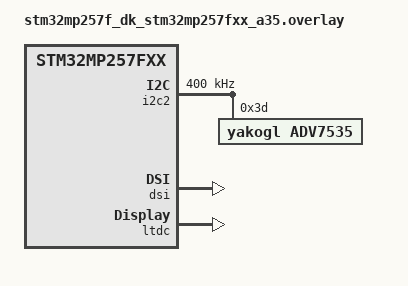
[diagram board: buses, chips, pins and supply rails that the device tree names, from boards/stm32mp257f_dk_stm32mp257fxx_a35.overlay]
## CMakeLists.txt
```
# SPDX-License-Identifier: Apache-2.0
# SPDX-FileCopyrightText: 2026 Signal Slot, Inc.
# mp2_display: the STM32MP257F-DK's display probe (README.md). LTDC -> DSI ->
# ADV7535 -> HDMI through the Zephyr display API, then eight colour bars.
#
#   west build -p always -b stm32mp257f_dk/stm32mp257fxx/a35 -d build/mp2_display \
#     yakogl/tools/probes/stm32mp257f_dk/mp2_display
cmake_minimum_required(VERSION 3.20.0)

# driver/ is a Zephyr module (the SoC, the board, the board layer, the
# display drivers). The overlay boards/stm32mp257f_dk_stm32mp257fxx_a35.overlay
# is picked up by name.
get_filename_component(PVR_REPO "${CMAKE_CURRENT_SOURCE_DIR}/../../../../driver" ABSOLUTE)
list(APPEND ZEPHYR_EXTRA_MODULES "${PVR_REPO}")

find_package(Zephyr REQUIRED HINTS $ENV{ZEPHYR_BASE})
project(mp2_display)

# The build prints its own commit first (a result row names its build).
execute_process(COMMAND git -C "${PVR_REPO}" describe --always --dirty
                OUTPUT_VARIABLE MP2_DISPLAY_BUILD OUTPUT_STRIP_TRAILING_WHITESPACE
                ERROR_QUIET RESULT_VARIABLE describe_rc)
if(NOT describe_rc EQUAL 0 OR MP2_DISPLAY_BUILD STREQUAL "")
  set(MP2_DISPLAY_BUILD "unknown")
endif()
target_compile_definitions(app PRIVATE MP2_DISPLAY_BUILD="${MP2_DISPLAY_BUILD}")
message(STATUS "mp2_display build: ${MP2_DISPLAY_BUILD}")

target_sources(app PRIVATE src/main.c src/pattern.c)

# Zero warnings in our C files with -DYAKOGL_WERROR=ON; off by default.
if(YAKOGL_WERROR)
  target_compile_options(app PRIVATE -Werror)
endif()
```

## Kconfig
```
# SPDX-License-Identifier: Apache-2.0
# SPDX-FileCopyrightText: 2026 Signal Slot, Inc.

config MP2_DISPLAY_HOLD_S
	int "Seconds the picture is held after the verdict line"
	default 60
	range 0 600
	help
	  After the PASS or FAIL line the probe keeps the scan-out running this
	  long before main() returns, so the runner's MP2_HOLD_S and the KVM
	  can see the picture. The board layer's lifetime
	  (CONFIG_YAKOGL_STM32MP2_LIFETIME_S) must cover it.

source "Kconfig.zephyr"
```

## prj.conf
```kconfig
# SPDX-License-Identifier: Apache-2.0
# SPDX-FileCopyrightText: 2026 Signal Slot, Inc.
# The board defconfig has the console; the board layer (stm32mp2.c) prints
# the banner and the hand-over record and resets through PSCI at the end;
# stm32mp2_wdog.c arms OP-TEE's watchdog at boot.
CONFIG_PRINTK=y
CONFIG_EARLY_CONSOLE=y
CONFIG_YAKOGL_STM32MP2_WDOG=y

# The display path: the four drivers are enabled by the overlay's nodes.
CONFIG_DISPLAY=y
CONFIG_I2C=y
CONFIG_MIPI_DSI=y
CONFIG_GPIO=y

# Translation tables. Zephyr's default 8 ran out on the DK right after
# "display_power: up" (board-display2: "CONFIG_MAX_XLAT_TABLES is too small",
# ELR in arch/arm64/core/mmu.c new_table): the base table, an L2 table for
# each GiB touched (0x4xxxxxxx: the GIC; 0x8xxxxxxx-0xbxxxxxxx: the image,
# the VM region and the frame buffer) and an L3 table for each 2 MiB window
# mapped in pages: the image (text/rodata/data split), the GIC, the top of
# the 8 MiB VM region where device_map puts USART2, RCC, SYSCFG (6 pages),
# RIFSC, GPIOB, GPIOF, I2C2, the DSI host and the LTDC, and the frame
# buffer's direct map at 0xb0000000 (fb-size 8 MiB, 2 MiB blocks when
# aligned). mp2_gpu_scanout gets 256 from the Vivante driver's default
# (driver/zephyr/Kconfig); without the GPU nothing raises it. 64 is several
# times what that list can take (8 tables were 32 KiB, 64 are 256 KiB).
CONFIG_MAX_XLAT_TABLES=64

# A thread that overruns its stack is stopped at its next context switch
# (K_ERR_STACK_CHK_FAIL: "mp2: fatal error 2" without CONFIG_LOG), not later
# as a corrupted neighbour (the board layer's MAIN_STACK_SIZE default,
# driver/zephyr/lib/board/stm32mp2/Kconfig).
CONFIG_STACK_SENTINEL=y

# The layer resets the board this long after boot; the probe holds the
# picture CONFIG_MP2_DISPLAY_HOLD_S (60) after its verdict, so it must be
# well beyond that.
CONFIG_YAKOGL_STM32MP2_LIFETIME_S=150
```

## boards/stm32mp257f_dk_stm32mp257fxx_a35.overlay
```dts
/*
 * SPDX-License-Identifier: Apache-2.0
 * SPDX-FileCopyrightText: 2026 Signal Slot, Inc.
 *
 * mp2_display: the DK's display path as ST's tree has it, LTDC -> DSI ->
 * ADV7535 -> HDMI, as yakogl devices. The probe's own overlay: the board
 * and SoC files stay without it.
 *
 *   &i2c2    stm32mp251.dtsi:935-936 (0x40130000), the bus of the bridge
 *            (stm32mp257f-dk.dts:395)
 *   adv7535  stm32mp257f-dk.dts:428-433: reg 0x3d with the secondary maps
 *            0x3f (edid), 0x3c (cec), 0x38 (packet), four DSI lanes
 *   dsi      stm32mp255.dtsi:123-133 (0x48000000), its output to the bridge
 *            (stm32mp257f-dk.dts:328-350)
 *   ltdc     stm32mp251.dtsi:2150 (0x48010000), its output to the DSI
 *            (stm32mp257f-dk.dts:536-547)
 *   ltdc_fb  the frame buffer, 0xb0000000, 32 MiB no-map: past the image's
 *            load end, inside RISAF4 region 9 (non-secure, CID0/1 r/w),
 *            below 4 GiB (docs/notes/stm32mp257f-dk-display-bringup.md,
 *            "Where the image lives and the proposed framebuffer")
 *
 * The clocks are what the board layer's power-on sets and reads back
 * (display_power_mp2.c over soc::stm32mp2::display): ck_ker_i2c2 is
 * FLEXGEN_12 at 100 MHz, the DSI PHY reference FLEXGEN_28 at 27 MHz, the
 * LTDC's pixel clock FLEXGEN_27 at the chosen mode's rate.
 *
 * Left out, on purpose:
 *   - the bridge's INT (GPIO B4) and reset (GPIO B6) lines
 *     (stm32mp257f-dk.dts:436-438): the board layer configures both pins and
 *     pulses the reset; no GPIO controller in this tree, the HPD is read
 *     from the chip.
 *   - interrupts of the LTDC (frames and flips are polled).
 */

/ {
	chosen {
		yakogl,ltdc-fb = &ltdc_fb;
	};

	reserved-memory {
		ltdc_fb: framebuffer@b0000000 {
			reg = <0xb0000000 DT_SIZE_M(32)>;
			no-map;
		};
	};

	soc {
		i2c2: i2c@40130000 {
			compatible = "yakogl,stm32mp2-i2c";
			reg = <0x40130000 0x400>;
			#address-cells = <1>;
			#size-cells = <0>;
			clock-frequency = <400000>;
			kernel-clock-frequency = <100000000>;
			status = "okay";

			adv7535: hdmi@3d {
				compatible = "yakogl,adv7535";
				reg = <0x3d>;
				edid-reg = <0x3f>;
				cec-reg = <0x3c>;
				packet-reg = <0x38>;
				adi,dsi-lanes = <4>;
				status = "okay";
			};
		};

		dsi: dsi@48000000 {
			compatible = "yakogl,stm32-dsi";
			reg = <0x48000000 0x800>;
			data-lanes = <4>;
			bridge = <&adv7535>;
			pll-ref-frequency = <27000000>;
			/* the LTDC driver sets the chosen mode's (stm32_dsi_set_mode) */
			pixel-clock-frequency = <148500000>;
			status = "okay";
		};

		/* hactive x vactive: the largest mode the driver may choose,
		 * 1920x1080@60 when the EDID prefers it, else 1280x720@60; one
		 * 1080p XRGB8888 frame (pitch 7680) fits fb-size. */
		ltdc: display-controller@48010000 {
			compatible = "yakogl,stm32-ltdc";
			reg = <0x48010000 0x400>;
			hactive = <1920>;
			vactive = <1080>;
			pixel-format = "argb8888";
			fb-size = <0x800000>;
			dsi-host = <&dsi>;
			status = "okay";
		};
	};
};
```

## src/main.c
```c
/* SPDX-License-Identifier: Apache-2.0 */
/* SPDX-FileCopyrightText: 2026 Signal Slot, Inc. */
/*
 * mp2_display: brings the DK's chain up through the LTDC display device (the
 * chain owner, display_yakogl_stm32_ltdc.c; the board layer powered the path
 * before, display_power_mp2.c), writes the eight colour bars (pattern.c,
 * what display_check/colorbars.py judges) line by line with display_write(),
 * turns blanking off, runs the scan-out check over MP2_DISPLAY_FRAMES frames
 * (stm32_ltdc_scanout_check) and prints
 *   mp2_display: PASS: <w>x<h> <fmt> <n> frames
 *   mp2_display: FAIL: <step> <err>
 * PASS only when the chain is up (LTDC on, DSI streaming, ADV7535 started)
 * and the scan-out check returned 0 with no failed bit: at least that many
 * frame events (ISR.LIF or the CPSR wrap), the layer's address and enable
 * read back right after the reload and after the last frame, and no FUWIF,
 * FUIF, TERRIF or FURIF in any event's ISR. The check's record is always
 * printed ("mp2_display: scanout: ..."; "errors: unobservable" when no RRIF
 * came after the control reload: the error flags could not be seen, which is
 * not a failure), and a failed check prints its name before the FAIL line
 * ("scanout: check frames|layer|errors|control failed"; step scanout-frames,
 * scanout-layer, scanout-errors or scanout-control). It then keeps scanning
 * out CONFIG_MP2_DISPLAY_HOLD_S seconds (one frame checked a second), so the
 * runner's MP2_HOLD_S and the KVM can see the picture. The board layer
 * (stm32mp2.c) resets the board through PSCI at its lifetime.
 *
 * After the check, the LTDC's frame CRC is logged as a diagnostic only
 * (stm32_ltdc_crc_enable / stm32_ltdc_frame_crc_event): "mp2_display: crc:
 * <what> 0x<crc> line <cypos> via <wrap|lif>" for four reads of the unchanged
 * buffer, one with two pixels of line 0 changed, one restored, then
 *   mp2_display: crc: diagnostic: stable <y|n> changed <y|n> restored <y|n>
 *   mp2_display: crc: unavailable     (-ENODEV: no CRC unit)
 * Nothing of it gates PASS: the CRC did not follow the picture on this path
 * (docs/notes/stm32mp257f-dk-display-bringup.md, "CRC and frame wait"). The
 * chain keeps scanning out throughout, so the hold that follows the result
 * line shows the restored picture. The KVM still judges the colours.
 */
#include <zephyr/kernel.h>
#include <zephyr/device.h>
#include <zephyr/devicetree.h>
#include <zephyr/drivers/display.h>
#include <zephyr/sys/printk.h>

#include <yakogl_mp25_display.h>
#include <yakogl_drv/adv7535.h>
#include <yakogl_drv/stm32_dsi.h>
#include <yakogl_drv/stm32_ltdc.h>

#include "pattern.h"

#define NAME "mp2_display"

#define LTDC_NODE DT_NODELABEL(ltdc)
#define DSI_NODE  DT_PHANDLE(LTDC_NODE, dsi_host)
#define ADV_NODE  DT_PHANDLE(DSI_NODE, bridge)

BUILD_ASSERT(DT_NODE_HAS_STATUS_OKAY(LTDC_NODE), "the overlay enables the ltdc node");
BUILD_ASSERT(CONFIG_MP2_DISPLAY_HOLD_S + 20 < CONFIG_YAKOGL_STM32MP2_LIFETIME_S,
	     "the board layer's lifetime covers the hold");

/* Frames that must come clean before PASS: one second at 60 Hz. */
#define MP2_DISPLAY_FRAMES 60

/* One line of the largest mode the node allows; the bars are vertical, so
 * every line is the same. */
#define LINE_W DT_PROP(LTDC_NODE, hactive)
static uint8_t line[LINE_W * 4] __aligned(64);
static uint32_t rust_line[LINE_W];

static int fail(const char *step, int err)
{
	printk("mp2_display: FAIL: %s %d\n", step, err);
	return err;
}

static const char *const step_names[] = {
	"none", "board", "fb", "adv-init", "mode", "clock", "ltdc-probe", "ltdc-configure",
	"ltdc-enable", "dsi-mode", "dsi", "adv-start", "frame", "i2c",
};

static void print_record(const struct stm32_ltdc_status *st, const struct device *dsi,
			 const struct device *adv)
{
	const struct yd_mp25_dsi_data *dd = stm32_dsi_data(dsi);
	const struct yd_mp25_adv7535_data *ad = adv7535_data(adv);
	const struct yd_mp25_mode *m = &st->mode;

	printk("mp2_display: chain step %s err %d, hpd %u, edid %u (header %02x %02x, ext %u), "
	       "choice %d\n",
	       st->step < ARRAY_SIZE(step_names) ? step_names[st->step] : "?", (int)st->err,
	       st->hpd, st->edid_ok, st->edid[0], st->edid[1], st->edid[126], (int)st->choice);
	printk("mp2_display: mode %ux%u %u Hz h %u/%u/%u v %u/%u/%u flags 0x%x, %s vic %u\n",
	       m->hactive, m->vactive, m->pixel_clock_hz, m->hfront, m->hsync, m->hback,
	       m->vfront, m->vsync, m->vback, m->flags, st->sink.hdmi ? "hdmi" : "dvi",
	       st->sink.vic);
	printk("mp2_display: ltdc hwver 0x%06x bus %u layers %u on %u, pitch %u, fb 0x%llx, "
	       "clock %u Hz\n",
	       st->ltdc.hwver, st->ltdc.bus_bytes, st->ltdc.layers, st->ltdc.on, st->pitch,
	       (unsigned long long)st->fb_phys, st->pixel_clock_hz);
	if (st->frame_diag_ok) {
		const struct yd_mp25_ltdc_diag *g = &st->frame_diag;

		printk("mp2_display: ltdc at frame timeout: isr 0x%08x ier 0x%08x cpsr 0x%08x "
		       "0x%08x (1 ms) cdsr 0x%08x gcr 0x%08x l1rcr 0x%08x\n",
		       g->isr, g->ier, g->cpsr0, g->cpsr1, g->cdsr, g->gcr, g->rcr);
	}
	if (dd != NULL) {
		printk("mp2_display: dsi on %u lanes %u lane %u kbit/s (timings %u Mbit/s) pll "
		       "idf %u ndiv %u odf %u, hline %u, failed step %u errno %d\n",
		       dd->on, dd->lanes, dd->lane_kbps, dd->lane_mbps, dd->pll_idf, dd->pll_ndiv,
		       dd->pll_odf, dd->hline, dd->failed_step, (int)dd->failed_errno);
	}
	if (ad != NULL) {
		printk("mp2_display: adv7535 rev 0x%02x hpd %u started %u\n", ad->revision, ad->hpd,
		       ad->started);
	}
}

/* pattern.c's line against the crate's yd_mp25_fill_color_bars (both claim
 * colorbars.py's order); a note only: pattern.c is the one the host test
 * judges. */
static void compare_bars(unsigned int w)
{
	const uint32_t *ours = (const uint32_t *)line;
	int rc = yd_mp25_fill_color_bars(rust_line, w, w, 1, w);

	if (rc != 0) {
		printk("mp2_display: bars: yd_mp25_fill_color_bars %d\n", rc);
		return;
	}
	for (unsigned int x = 0; x < w; x++) {
		if (ours[x] != rust_line[x]) {
			printk("mp2_display: bars: differ at x %u: 0x%08x, crate 0x%08x\n", x,
			       ours[x], rust_line[x]);
			return;
		}
	}
	printk("mp2_display: bars: equal to the crate's\n");
}

/* The scan-out check's record, always printed (whatever it said), then each
 * failed check by name. Returns 0 only when the FFI said 0 and no check bit
 * is set: the one place PASS comes from. *name is the first failed check, for
 * the FAIL line; *seen the frames counted. */
static int scanout_verdict(const struct device *dev, uint32_t frames, const char **name,
			   uint32_t *seen)
{
	struct yd_mp25_ltdc_scanout o = {0};
	int rc = stm32_ltdc_scanout_check(dev, frames, &o);

	printk(NAME ": scanout: frames %u/%u (lif %u wrap %u) max wait %u us, layer fb 0x%08x "
	       "want 0x%08x lxcr 0x%08x gcr 0x%08x ok %u/%u, lipcr 0x%x want 0x%x ier 0x%08x\n",
	       o.frames, o.frames_wanted, o.frames_lif, o.frames_wrap, o.max_wait_us, o.cfbar,
	       o.cfbar_want, o.lxcr, o.gcr, o.layer_ok_before, o.layer_ok_after, o.lipcr,
	       o.lipcr_want, o.ier);
	printk(NAME ": scanout: isr_or 0x%08x fuwif %u fuif %u terrif %u furif %u crcif %u, "
	       "failed 0x%x rrif_seen %u rc %d\n",
	       o.isr_or, o.fuwif, o.fuif, o.terrif, o.furif, o.crcif, o.failed, o.rrif_seen, rc);
	if (!o.rrif_seen) {
		printk(NAME ": scanout: errors: unobservable (no RRIF after the control reload)\n");
	}
	*seen = o.frames;
	*name = NULL;
	if ((o.failed & YD_MP25_SCANOUT_FAIL_FRAMES) != 0u) {
		printk(NAME ": scanout: check frames failed (%u of %u)\n", o.frames,
		       o.frames_wanted);
		*name = "scanout-frames";
	}
	if ((o.failed & YD_MP25_SCANOUT_FAIL_LAYER) != 0u) {
		printk(NAME ": scanout: check layer failed (address or enable read back wrong)\n");
		if (*name == NULL) {
			*name = "scanout-layer";
		}
	}
	if ((o.failed & YD_MP25_SCANOUT_FAIL_ERRORS) != 0u) {
		printk(NAME ": scanout: check errors failed (FIFO underrun or transfer error)\n");
		if (*name == NULL) {
			*name = "scanout-errors";
		}
	}
	if (rc != 0 && *name == NULL) {
		printk(NAME ": scanout: check control failed (the RRIF control reload)\n");
		*name = "scanout-control";
	}
	if (rc == 0 && *name != NULL) {
		rc = -EIO; /* a failed bit decides as well as the return value */
	}
	return rc;
}

#define CRC_READS 4

/* A diagnostic only: it prints and decides nothing. */
static int crc_read(const struct device *dev, const char *what, uint32_t *crc)
{
	struct yd_mp25_ltdc_frame ev;
	int err = stm32_ltdc_frame_crc_event(dev, &ev);

	if (err == 0) {
		*crc = ev.crc;
		printk(NAME ": crc: %s 0x%08x line %u via %s\n", what, ev.crc, ev.line,
		       ev.via == YD_MP25_LTDC_VIA_LIF ? "lif" : "wrap");
	} else {
		printk(NAME ": crc: %s read %d\n", what, err);
	}
	return err;
}

static bool crc_unavailable(int err)
{
	return err == -ENODEV || err == -ENOTSUP || err == -ENOSYS;
}

/* The CRC as a diagnostic: the buffer's line 0 is written with its first two
 * bytes inverted and then restored, through display_write() (the driver's
 * cache handling for the CPU pattern). Prints; nothing is returned. */
static void crc_diag(const struct device *dev, const struct display_buffer_descriptor *desc)
{
	uint32_t base = 0, c = 0, changed = 0, restored = 0, isr = 0;
	bool stable = true, ch_ok, rs_ok;
	int err;

	err = stm32_ltdc_crc_enable(dev, true);
	if (err == 0) {
		err = crc_read(dev, "base", &base);
	}
	if (crc_unavailable(err)) {
		printk(NAME ": crc: unavailable\n");
		return;
	}
	if (err) {
		printk(NAME ": crc: diagnostic: no value (%d)\n", err);
		return;
	}
	for (int i = 1; i < CRC_READS; i++) {
		if (crc_read(dev, "again", &c) == 0 && c != base) {
			stable = false;
		}
	}

	line[0] ^= 0xff;
	line[1] ^= 0xff;
	err = display_write(dev, 0, 0, desc, line);
	(void)stm32_ltdc_wait_frame(dev, &isr);
	ch_ok = err == 0 && crc_read(dev, "changed", &changed) == 0 && changed != base;
	line[0] ^= 0xff;
	line[1] ^= 0xff;
	err = display_write(dev, 0, 0, desc, line);
	(void)stm32_ltdc_wait_frame(dev, &isr);
	rs_ok = err == 0 && crc_read(dev, "restored", &restored) == 0 && restored == base;
	printk(NAME ": crc: diagnostic: stable %c changed %c restored %c\n", stable ? 'y' : 'n',
	       ch_ok ? 'y' : 'n', rs_ok ? 'y' : 'n');
	(void)stm32_ltdc_crc_enable(dev, false);
}

static int show(const struct device *dev, const char **fmt_name, unsigned int *w,
		unsigned int *h, int *frames)
{
	const struct device *dsi = DEVICE_DT_GET(DSI_NODE);
	const struct device *adv = DEVICE_DT_GET(ADV_NODE);
	const struct stm32_ltdc_status *st;
	const struct yd_mp25_dsi_data *dd;
	const struct yd_mp25_adv7535_data *ad;
	struct display_capabilities caps;
	struct display_buffer_descriptor desc;
	enum pattern_format pf;
	size_t row;
	const char *check = NULL;
	uint32_t seen = 0;
	int err;

	if (!device_is_ready(dev)) {
		return fail("ltdc-ready", -ENODEV);
	}
	st = stm32_ltdc_status(dev);
	display_get_capabilities(dev, &caps);
	if (caps.x_resolution == 0u || caps.y_resolution == 0u) {
		print_record(st, dsi, adv);
		return fail(st->step < ARRAY_SIZE(step_names) ? step_names[st->step] : "select",
			    st->err != 0 ? st->err : -EIO);
	}
	switch (caps.current_pixel_format) {
	case PIXEL_FORMAT_ARGB_8888:
		pf = PATTERN_ARGB8888;
		*fmt_name = "argb8888";
		break;
	case PIXEL_FORMAT_RGB_565:
		pf = PATTERN_RGB565;
		*fmt_name = "rgb565";
		break;
	default:
		return fail("format", -ENOTSUP);
	}
	*w = caps.x_resolution;
	*h = caps.y_resolution;
	row = (size_t)*w * pattern_bpp(pf);
	if (*w > LINE_W || row > sizeof(line)) {
		return fail("size", -EINVAL);
	}

	err = pattern_fill(line, *w, 1, row, pf);
	if (err) {
		return fail("pattern", err);
	}
	if (pf == PATTERN_ARGB8888) {
		compare_bars(*w);
	}
	desc = (struct display_buffer_descriptor){
		.buf_size = row,
		.width = *w,
		.height = 1,
		.pitch = *w,
		.frame_incomplete = false,
	};
	for (unsigned int y = 0; y < *h; y++) {
		err = display_write(dev, 0, y, &desc, line);
		if (err) {
			return fail("write", err);
		}
	}

	err = display_blanking_off(dev);
	print_record(st, dsi, adv);
	if (err) {
		return fail(st->step < ARRAY_SIZE(step_names) ? step_names[st->step]
							     : "blanking-off",
			    err);
	}
	dd = stm32_dsi_data(dsi);
	ad = adv7535_data(adv);
	if (!st->on || !st->ltdc.on || dd == NULL || !dd->on || ad == NULL || !ad->started) {
		return fail("chain", -EIO);
	}

	/* PASS rests on this and on nothing else: the scan-out check. */
	err = scanout_verdict(dev, MP2_DISPLAY_FRAMES, &check, &seen);
	*frames = (int)seen;
	crc_diag(dev, &desc);
	if (err) {
		return fail(check != NULL ? check : "scanout", err);
	}
	return 0;
}

int main(void)
{
	const struct device *dev = DEVICE_DT_GET(LTDC_NODE);
	const char *fmt = "?";
	unsigned int w = 0, h = 0;
	int frames = 0;
	int good = 0, bad = 0;
	bool up;

	printk("mp2_display: build %s, hold %d s\n", MP2_DISPLAY_BUILD, CONFIG_MP2_DISPLAY_HOLD_S);
	up = show(dev, &fmt, &w, &h, &frames) == 0;
	if (up) {
		printk("mp2_display: PASS: %ux%u %s %d frames\n", w, h, fmt, frames);
	}
	/* The picture (or the failure) stays up for the runner and the KVM. */
	for (int s = 0; s < CONFIG_MP2_DISPLAY_HOLD_S; s++) {
		k_sleep(K_SECONDS(1));
		if (up) {
			uint32_t isr = 0;

			if (stm32_ltdc_wait_frame(dev, &isr) == 0) {
				good++;
			} else {
				bad++;
				printk("mp2_display: hold: frame at %d s failed, isr 0x%x\n", s, isr);
			}
		}
	}
	if (up) {
		printk("mp2_display: hold: %d frames ok, %d failed\n", good, bad);
	}
	return 0;
}
```

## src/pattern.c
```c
/* SPDX-License-Identifier: Apache-2.0 */
/* SPDX-FileCopyrightText: 2026 Signal Slot, Inc. */
#include "pattern.h"

#include <string.h>

/* colorbars.py BARS: white, yellow, cyan, green, magenta, red, blue, black. */
static const uint8_t bars[PATTERN_BARS][3] = {
	{255, 255, 255}, {255, 255, 0}, {0, 255, 255}, {0, 255, 0},
	{255, 0, 255},   {255, 0, 0},   {0, 0, 255},   {0, 0, 0},
};

unsigned int pattern_bpp(enum pattern_format fmt)
{
	switch (fmt) {
	case PATTERN_ARGB8888:
		return 4;
	case PATTERN_RGB888:
		return 3;
	default:
		return 2;
	}
}

void pattern_bar_rgb(unsigned int i, uint8_t rgb[3])
{
	memcpy(rgb, bars[i % PATTERN_BARS], 3);
}

unsigned int pattern_bar_of(unsigned int x, unsigned int w)
{
	return (unsigned int)(((uint64_t)x * PATTERN_BARS) / w);
}

static void put(uint8_t *p, enum pattern_format fmt, const uint8_t *c)
{
	uint32_t v;

	switch (fmt) {
	case PATTERN_ARGB8888:
		p[0] = c[2];
		p[1] = c[1];
		p[2] = c[0];
		p[3] = 0xff;
		break;
	case PATTERN_RGB888:
		p[0] = c[2];
		p[1] = c[1];
		p[2] = c[0];
		break;
	default:
		v = ((uint32_t)(c[0] >> 3) << 11) | ((uint32_t)(c[1] >> 2) << 5) | (c[2] >> 3);
		p[0] = v & 0xff;
		p[1] = (v >> 8) & 0xff;
		break;
	}
}

int pattern_fill(void *buf, unsigned int width, unsigned int height, size_t stride,
		 enum pattern_format fmt)
{
	unsigned int bpp = pattern_bpp(fmt);
	uint8_t *line = buf;

	if (buf == NULL || width == 0 || height == 0 || stride < (size_t)width * bpp) {
		return -1;
	}
	/* Line 0 is built once and copied: the bars do not vary by row. */
	for (unsigned int x = 0; x < width; x++) {
		put(line + (size_t)x * bpp, fmt, bars[pattern_bar_of(x, width)]);
	}
	memset(line + (size_t)width * bpp, 0, stride - (size_t)width * bpp);
	for (unsigned int y = 1; y < height; y++) {
		memcpy(line + (size_t)y * stride, line, stride);
	}
	return 0;
}
```

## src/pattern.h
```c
/* SPDX-License-Identifier: Apache-2.0 */
/* SPDX-FileCopyrightText: 2026 Signal Slot, Inc. */
/*
 * pattern.h -- the mp2_display probe's colour bars. No Zephyr include: the
 * host test (test/pattern_test.sh) compiles pattern.c with the host cc.
 */
#ifndef MP2_DISPLAY_PATTERN_H
#define MP2_DISPLAY_PATTERN_H

#include <stddef.h>
#include <stdint.h>

#define PATTERN_BARS 8

enum pattern_format {
	PATTERN_ARGB8888, /* 32-bit word 0xAARRGGBB, little endian, alpha 0xff */
	PATTERN_RGB888,   /* bytes B, G, R */
	PATTERN_RGB565,   /* 16-bit word RRRRRGGGGGGBBBBB */
};

/* Bytes per pixel of a format. */
unsigned int pattern_bpp(enum pattern_format fmt);

/* The RGB of bar i (0..7): white, yellow, cyan, green, magenta, red, blue,
 * black, the order tools/probes/stm32mp257f_dk/display_check/colorbars.py
 * judges.
 */
void pattern_bar_rgb(unsigned int i, uint8_t rgb[3]);

/* The bar column x of a width-w picture is in: x * 8 / w. */
unsigned int pattern_bar_of(unsigned int x, unsigned int w);

/* Fill height lines of a linear buffer, stride bytes apart, with the 8
 * vertical bars. The padding after each line (stride - width * bpp) is
 * zeroed. Returns 0, or -1 for a stride too small or a zero size.
 */
int pattern_fill(void *buf, unsigned int width, unsigned int height, size_t stride,
		 enum pattern_format fmt);

#endif
```
